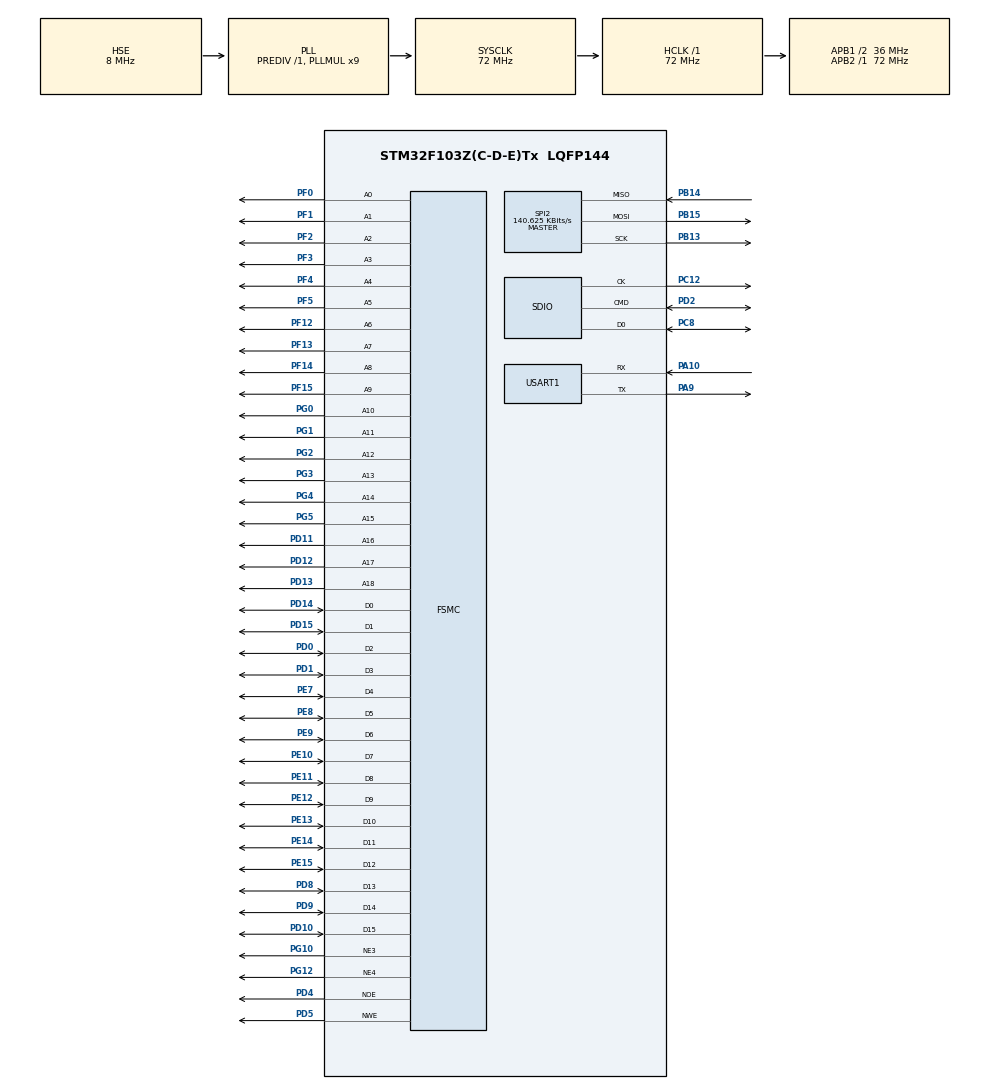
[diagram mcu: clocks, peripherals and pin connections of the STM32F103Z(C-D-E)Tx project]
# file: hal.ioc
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FREERTOS.Tasks01=defaultTask,24,128,StartDefaultTask,Default,NULL,Dynamic,NULL,NULL;Led,23,160,LedTask,Default,NULL,Dynamic,NULL,NULL;LvglTask,24,1024,LvglCreate,Default,NULL,Dynamic,NULL,NULL
FREERTOS.configTOTAL_HEAP_SIZE=8192
FSMC.AddressSetupTime1=0
FSMC.AddressSetupTime4=0xf
FSMC.BusTurnAroundDuration1=0
FSMC.BusTurnAroundDuration4=0
FSMC.DataSetupTime1=8
FSMC.DataSetupTime4=60
FSMC.ExtendedAddressSetupTime4=9
FSMC.ExtendedBusTurnAroundDuration4=0
FSMC.ExtendedDataSetupTime4=8
FSMC.ExtendedMode4=FSMC_EXTENDED_MODE_ENABLE
FSMC.WriteOperation1=FSMC_WRITE_OPERATION_ENABLE
Mcu.Family=STM32F1
Mcu.Name=STM32F103Z(C-D-E)Tx
Mcu.Package=LQFP144
NVIC.PriorityGroup=NVIC_PRIORITYGROUP_4
NVIC.USART1_IRQn=true\:5\:0\:true\:false\:true\:true\:true\:true\:true
OSC_IN.Mode=HSE-External-Oscillator
OSC_IN.Signal=RCC_OSC_IN
OSC_OUT.Mode=HSE-External-Oscillator
OSC_OUT.Signal=RCC_OSC_OUT
PA0-WKUP.Mode=SYS_WakeUp0
PA0-WKUP.Signal=SYS_WKUP
PA10.Mode=Asynchronous
PA10.Signal=USART1_RX
PA13.Mode=JTAG_5_pins
PA13.Signal=SYS_JTMS-SWDIO
PA14.Mode=JTAG_5_pins
PA14.Signal=SYS_JTCK-SWCLK
PA15.Mode=JTAG_5_pins
PA15.Signal=SYS_JTDI
PA9.Mode=Asynchronous
PA9.Signal=USART1_TX
PB13.Mode=Full_Duplex_Master
PB13.Signal=SPI2_SCK
PB14.Mode=Full_Duplex_Master
PB14.Signal=SPI2_MISO
PB15.Mode=Full_Duplex_Master
PB15.Signal=SPI2_MOSI
PB3.Mode=JTAG_5_pins
PB3.Signal=SYS_JTDO-TRACESWO
PB4.Mode=JTAG_5_pins
PB4.Signal=SYS_NJTRST
PC12.Mode=SD_1_bit
PC12.Signal=SDIO_CK
PC14-OSC32_IN.Mode=LSE-External-Oscillator
PC14-OSC32_IN.Signal=RCC_OSC32_IN
PC15-OSC32_OUT.Mode=LSE-External-Oscillator
PC15-OSC32_OUT.Signal=RCC_OSC32_OUT
PC8.Mode=SD_1_bit
PC8.Signal=SDIO_D0
PD0.Signal=FSMC_D2_DA2
PD1.Signal=FSMC_D3_DA3
PD10.Signal=FSMC_D15_DA15
PD11.Signal=FSMC_A16_CLE
PD12.Signal=FSMC_A17_ALE
PD13.Signal=FSMC_A18
PD14.Signal=FSMC_D0_DA0
PD15.Signal=FSMC_D1_DA1
PD2.Mode=SD_1_bit
PD2.Signal=SDIO_CMD
PD4.Signal=FSMC_NOE
PD5.Signal=FSMC_NWE
PD8.Signal=FSMC_D13_DA13
PD9.Signal=FSMC_D14_DA14
PE10.Signal=FSMC_D7_DA7
PE11.Signal=FSMC_D8_DA8
PE12.Signal=FSMC_D9_DA9
PE13.Signal=FSMC_D10_DA10
PE14.Signal=FSMC_D11_DA11
PE15.Signal=FSMC_D12_DA12
PE7.Signal=FSMC_D4_DA4
PE8.Signal=FSMC_D5_DA5
PE9.Signal=FSMC_D6_DA6
PF0.Signal=FSMC_A0
PF1.Signal=FSMC_A1
PF12.Signal=FSMC_A6
PF13.Signal=FSMC_A7
PF14.Signal=FSMC_A8
PF15.Signal=FSMC_A9
PF2.Signal=FSMC_A2
PF3.Signal=FSMC_A3
PF4.Signal=FSMC_A4
PF5.Signal=FSMC_A5
PG0.Signal=FSMC_A10
PG1.Signal=FSMC_A11
PG10.Mode=NorPsramChipSelect3_1
PG10.Signal=FSMC_NE3
PG12.Mode=NorPsramChipSelect4_4
PG12.Signal=FSMC_NE4
PG2.Signal=FSMC_A12
PG3.Signal=FSMC_A13
PG4.Signal=FSMC_A14
PG5.Signal=FSMC_A15
ProjectManager.HeapSize=0x3000
ProjectManager.StackSize=0x3000
ProjectManager.TargetToolchain=STM32CubeIDE
RCC.AHBFreq_Value=72000000
RCC.APB1CLKDivider=RCC_HCLK_DIV2
RCC.APB1Freq_Value=36000000
RCC.APB1TimFreq_Value=72000000
RCC.APB2Freq_Value=72000000
RCC.APB2TimFreq_Value=72000000
RCC.HCLKFreq_Value=72000000
RCC.PLLMUL=RCC_PLL_MUL9
RCC.PLLSourceVirtual=RCC_PLLSOURCE_HSE
RCC.SYSCLKFreq_VALUE=72000000
RCC.SYSCLKSource=RCC_SYSCLKSOURCE_PLLCLK
RCC.USBFreq_Value=72000000
SDIO.ClockDiv=4
SH.FSMC_A0.0=FSMC_A0,19b-a1
SH.FSMC_A1.0=FSMC_A1,19b-a1
SH.FSMC_A10.0=FSMC_A10,A10_4
SH.FSMC_A10.1=FSMC_A10,19b-a1
SH.FSMC_A11.0=FSMC_A11,19b-a1
SH.FSMC_A12.0=FSMC_A12,19b-a1
SH.FSMC_A13.0=FSMC_A13,19b-a1
SH.FSMC_A14.0=FSMC_A14,19b-a1
SH.FSMC_A15.0=FSMC_A15,19b-a1
SH.FSMC_A16_CLE.0=FSMC_A16,19b-a1
SH.FSMC_A17_ALE.0=FSMC_A17,19b-a1
SH.FSMC_A18.0=FSMC_A18,19b-a1
SH.FSMC_A2.0=FSMC_A2,19b-a1
SH.FSMC_A3.0=FSMC_A3,19b-a1
SH.FSMC_A4.0=FSMC_A4,19b-a1
SH.FSMC_A5.0=FSMC_A5,19b-a1
SH.FSMC_A6.0=FSMC_A6,19b-a1
SH.FSMC_A7.0=FSMC_A7,19b-a1
SH.FSMC_A8.0=FSMC_A8,19b-a1
SH.FSMC_A9.0=FSMC_A9,19b-a1
SH.FSMC_D0_DA0.0=FSMC_D0,16b-d4
SH.FSMC_D0_DA0.1=FSMC_D0,16b-d1
SH.FSMC_D10_DA10.0=FSMC_D10,16b-d4
SH.FSMC_D10_DA10.1=FSMC_D10,16b-d1
SH.FSMC_D11_DA11.0=FSMC_D11,16b-d4
SH.FSMC_D11_DA11.1=FSMC_D11,16b-d1
SH.FSMC_D12_DA12.0=FSMC_D12,16b-d4
SH.FSMC_D12_DA12.1=FSMC_D12,16b-d1
SH.FSMC_D13_DA13.0=FSMC_D13,16b-d4
SH.FSMC_D13_DA13.1=FSMC_D13,16b-d1
SH.FSMC_D14_DA14.0=FSMC_D14,16b-d4
SH.FSMC_D14_DA14.1=FSMC_D14,16b-d1
SH.FSMC_D15_DA15.0=FSMC_D15,16b-d4
SH.FSMC_D15_DA15.1=FSMC_D15,16b-d1
SH.FSMC_D1_DA1.0=FSMC_D1,16b-d4
SH.FSMC_D1_DA1.1=FSMC_D1,16b-d1
SH.FSMC_D2_DA2.0=FSMC_D2,16b-d4
SH.FSMC_D2_DA2.1=FSMC_D2,16b-d1
SH.FSMC_D3_DA3.0=FSMC_D3,16b-d4
SH.FSMC_D3_DA3.1=FSMC_D3,16b-d1
SH.FSMC_D4_DA4.0=FSMC_D4,16b-d4
SH.FSMC_D4_DA4.1=FSMC_D4,16b-d1
SH.FSMC_D5_DA5.0=FSMC_D5,16b-d4
SH.FSMC_D5_DA5.1=FSMC_D5,16b-d1
SH.FSMC_D6_DA6.0=FSMC_D6,16b-d4
SH.FSMC_D6_DA6.1=FSMC_D6,16b-d1
SH.FSMC_D7_DA7.0=FSMC_D7,16b-d4
SH.FSMC_D7_DA7.1=FSMC_D7,16b-d1
SH.FSMC_D8_DA8.0=FSMC_D8,16b-d4
SH.FSMC_D8_DA8.1=FSMC_D8,16b-d1
SH.FSMC_D9_DA9.0=FSMC_D9,16b-d4
SH.FSMC_D9_DA9.1=FSMC_D9,16b-d1
SH.FSMC_NOE.0=FSMC_NOE,Lcd4
SH.FSMC_NOE.1=FSMC_NOE,Sram1
SH.FSMC_NWE.0=FSMC_NWE,Lcd4
SH.FSMC_NWE.1=FSMC_NWE,Sram1
SPI2.BaudRatePrescaler=SPI_BAUDRATEPRESCALER_256
SPI2.CLKPhase=SPI_PHASE_2EDGE
SPI2.CLKPolarity=SPI_POLARITY_HIGH
SPI2.CalculateBaudRate=140.625 KBits/s
SPI2.Direction=SPI_DIRECTION_2LINES
SPI2.Mode=SPI_MODE_MASTER
SPI2.VirtualType=VM_MASTER
USART1.Parity=PARITY_ODD
USART1.VirtualMode=VM_ASYNC
USART1.WordLength=WORDLENGTH_9B
VP_FREERTOS_VS_CMSIS_V2.Mode=CMSIS_V2
board=custom

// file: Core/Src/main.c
/* USER CODE BEGIN Header */
/**
 ******************************************************************************
 * @file           : main.c
 * @brief          : Main program body
 ******************************************************************************
 * @attention
 *
 * Copyright (c) 2024 STMicroelectronics.
 * All rights reserved.
 *
 * This software is licensed under terms that can be found in the LICENSE file
 * in the root directory of this software component.
 * If no LICENSE file comes with this software, it is provided AS-IS.
 *
 ******************************************************************************
 */
/* USER CODE END Header */
#include "main.h"
#include "cmsis_os.h"
#include "sdio.h"
#include "spi.h"
#include "usart.h"
#include "gpio.h"
#include "fsmc.h"

/* USER CODE BEGIN Includes */
#include "system.h"
#include "led.h"
#include "SysTick.h"
#include "lvgl.h"
#include "lv_port_disp_template.h"
#include "lv_port_indev_template.h"
#include "lv_port_fs_template.h"
/* USER CODE END Includes */

void SystemClock_Config(void);

void MX_FREERTOS_Init(void);

/* USER CODE BEGIN 0 */
extern u8 SD_Init_Statue;

/* USER CODE END 0 */

int main(void) {

    /* MCU Configuration--------------------------------------------------------*/

    /* Reset of all peripherals, Initializes the Flash interface and the Systick. */
    HAL_Init();

    /* USER CODE BEGIN Init */
    //必须定义DATA_IN_ExtSRAM 才能正常显示
    /* USER CODE END Init */

    /* Configure the system clock */
    SystemClock_Config();

    /* Initialize all configured peripherals */
    MX_GPIO_Init();
    MX_FSMC_Init();
    MX_USART1_UART_Init();
    MX_SPI2_Init();
    MX_SDIO_SD_Init();
    /* USER CODE BEGIN 2 */
    SysTick_Init(72);
    LED_Init();
    //初始化EN25Q128
    lv_init();
    lv_port_disp_init();
    lv_port_indev_init();
    lv_port_fs_init();

    /* USER CODE END 2 */

    /* Init scheduler */
    osKernelInitialize();

    /* Call init function for freertos objects (in cmsis_os2.c) */
    MX_FREERTOS_Init();

    /* Start scheduler */
    osKernelStart();

    /* We should never get here as control is now taken by the scheduler */

    /* Infinite loop */
    while (1) {

        /* USER CODE BEGIN 3 */
    }
}
/**
 * @brief       start_task
 * @param       pvParameters : 传入参数(未用到)
 * @retval      无
 */

/* Call init function for freertos objects (in cmsis_os2.c) */
//    MX_FREERTOS_Init();
//
//    /* Start scheduler */
//    osKernelStart();
//
//    /* We should never get here as control is now taken by the scheduler */

/* Infinite loop */
/* USER CODE BEGIN WHILE */

/* USER CODE END 3 */

void SystemClock_Config(void) {
    RCC_OscInitTypeDef RCC_OscInitStruct = {0};
    RCC_ClkInitTypeDef RCC_ClkInitStruct = {0};

    /** Initializes the RCC Oscillators according to the specified parameters
    * in the RCC_OscInitTypeDef structure.
    */
    RCC_OscInitStruct.OscillatorType = RCC_OSCILLATORTYPE_HSE;
    RCC_OscInitStruct.HSEState = RCC_HSE_ON;
    RCC_OscInitStruct.HSEPredivValue = RCC_HSE_PREDIV_DIV1;
    RCC_OscInitStruct.HSIState = RCC_HSI_ON;
    RCC_OscInitStruct.PLL.PLLState = RCC_PLL_ON;
    RCC_OscInitStruct.PLL.PLLSource = RCC_PLLSOURCE_HSE;
    RCC_OscInitStruct.PLL.PLLMUL = RCC_PLL_MUL9;
    if (HAL_RCC_OscConfig(&RCC_OscInitStruct) != HAL_OK) {
        Error_Handler();
    }

    /** Initializes the CPU, AHB and APB buses clocks
    */
    RCC_ClkInitStruct.ClockType = RCC_CLOCKTYPE_HCLK | RCC_CLOCKTYPE_SYSCLK
                                  | RCC_CLOCKTYPE_PCLK1 | RCC_CLOCKTYPE_PCLK2;
    RCC_ClkInitStruct.SYSCLKSource = RCC_SYSCLKSOURCE_PLLCLK;
    RCC_ClkInitStruct.AHBCLKDivider = RCC_SYSCLK_DIV1;
    RCC_ClkInitStruct.APB1CLKDivider = RCC_HCLK_DIV2;
    RCC_ClkInitStruct.APB2CLKDivider = RCC_HCLK_DIV1;

    if (HAL_RCC_ClockConfig(&RCC_ClkInitStruct, FLASH_LATENCY_2) != HAL_OK) {
        Error_Handler();
    }
}

void Error_Handler(void) {
    __disable_irq();
    while (1) {
    }
}

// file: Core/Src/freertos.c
/* USER CODE BEGIN Header */
/**
  ******************************************************************************
  * File Name          : freertos.c
  * Description        : Code for freertos applications
  ******************************************************************************
  * @attention
  *
  * Copyright (c) 2024 STMicroelectronics.
  * All rights reserved.
  *
  * This software is licensed under terms that can be found in the LICENSE file
  * in the root directory of this software component.
  * If no LICENSE file comes with this software, it is provided AS-IS.
  *
  ******************************************************************************
  */
/* USER CODE END Header */

#include "FreeRTOS.h"
#include "task.h"
#include "main.h"
#include "cmsis_os.h"

/* USER CODE BEGIN Includes */
#include "led.h"
#include "SysTick.h"
#include "lvgl.h"
#include "app.h"
/* USER CODE END Includes */

/* Definitions for defaultTask */
osThreadId_t defaultTaskHandle;
const osThreadAttr_t defaultTask_attributes = {
        .name = "defaultTask",
        .stack_size = 128 * 4,
        .priority = (osPriority_t) osPriorityNormal,
};
/* Definitions for LEDToggle */
osThreadId_t LEDToggleHandle;
const osThreadAttr_t LEDToggle_attributes = {
        .name = "LEDToggle",
        .stack_size = 128 * 4,
        .priority = (osPriority_t) osPriorityNormal,
};
/* Definitions for Print */
osThreadId_t PrintHandle;
const osThreadAttr_t Print_attributes = {
        .name = "Print",
        .stack_size = 1000 * 4 ,//
        .priority = (osPriority_t) osPriorityHigh,
};

void StartDefaultTask(void *argument);

void LEDToggleTask(void *argument);

void PrintTask(void *argument);

void MX_FREERTOS_Init(void); /* (MISRA C 2004 rule 8.1) */

void MX_FREERTOS_Init(void) {

    /* Create the thread(s) */
    /* creation of defaultTask */
    defaultTaskHandle = osThreadNew(StartDefaultTask, NULL, &defaultTask_attributes);
    /* creation of LEDToggle */
    LEDToggleHandle = osThreadNew(LEDToggleTask, NULL, &LEDToggle_attributes);
    /* creation of Print */
    PrintHandle = osThreadNew(PrintTask, NULL, &Print_attributes);
    printf("PrintHandle is %lu\r\n",(uint32_t)PrintHandle);

}

void StartDefaultTask(void *argument) {
    /* USER CODE BEGIN StartDefaultTask */
    /* Infinite loop */
    u16 i = 0;
    for (;;) {
//        if (i == 500) {
//            LED1 = !LED1;
//        } else if (i > 500) {
//            i = 0;
//        }
//        i++;
        osDelay(1);
    }
    /* USER CODE END StartDefaultTask */
}

void LEDToggleTask(void *argument) {
    /* USER CODE BEGIN LEDToggleTask */
//    /* Infinite loop */
    for (;;) {
        LED1 = !LED1;
      //  printf("PrintTask free stack %lu\r\n", uxTaskGetStackHighWaterMark(PrintHandle));
        osDelay(pdMS_TO_TICKS(500));

    }
    /* USER CODE END LEDToggleTask */
}

void PrintTask(void *argument) {
    /* USER CODE BEGIN PrintTask */
    /* Infinite loop */
//    uint8_t i = 0;
//    lv_obj_t *switch_obj = lv_switch_create(lv_scr_act());
//    lv_obj_set_size(switch_obj, 120, 60);
//    lv_obj_align(switch_obj, LV_ALIGN_CENTER, 0, 0);
    app();
    uint8_t i=0;
    for (;;) {

        if(i==10)
        {
            LED2 = !LED2;
            printf("current PrintTask free stack %lu\r\n", uxTaskGetStackHighWaterMark(PrintHandle));
        }i++;
        osDelay(pdMS_TO_TICKS(5));
        lv_timer_handler(); /* LVGL计时器 */
    }
    /* USER CODE END PrintTask */
}
